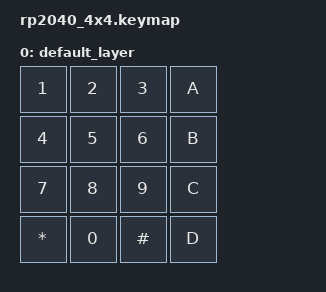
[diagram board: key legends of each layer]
//rp2040_4x4.keymap

// This file was generated from a template. Edit it to match your keyboard.
// See https://zmk.dev/docs/development/hardware-integration/new-shield for more instructions.

#include <behaviors.dtsi>
#include <dt-bindings/zmk/keys.h>

/ {
    // Define a default keymap here.
    // See https://zmk.dev/docs/development/hardware-integration/new-shield#default-keymap.
    keymap {
        compatible = "zmk,keymap";

        default_layer {
        // -----------------------------------------------------------------------------------------
        // |  1  |  2  |  3  |  A  |
        // |  4  |  5  |  6  |  B  |
        // |  7  |  8  |  9  |  C  |
        // |  *  |  0  |  #  |  D  |
            bindings = <
                &kp N1       &kp N2     &kp N3       &kp A
                &kp N4       &kp N5     &kp N6       &kp B
                &kp N7       &kp N8     &kp N9       &kp C
                &kp ASTRK    &kp N0     &kp POUND    &kp D
            >;
        };
    };
};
